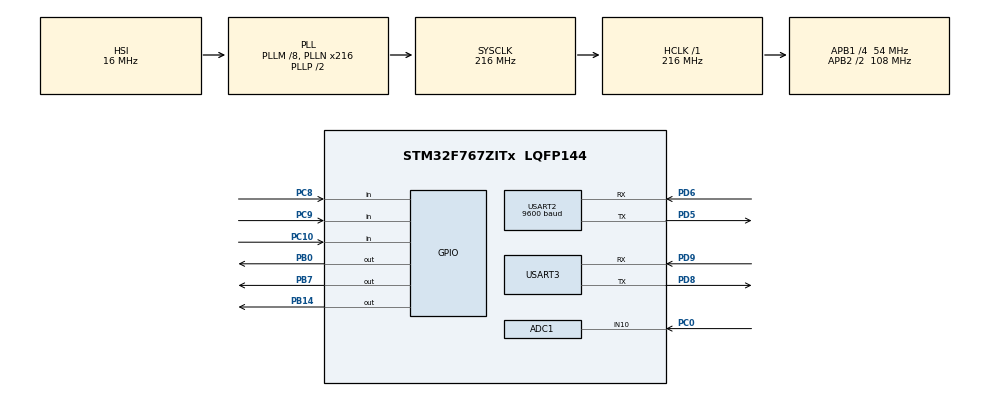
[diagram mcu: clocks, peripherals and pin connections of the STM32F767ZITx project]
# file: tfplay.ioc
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ADC1.Channel-0\#ChannelRegularConversion=ADC_CHANNEL_10
ADC1.ContinuousConvMode=ENABLE
ADC1.EOCSelection=ADC_EOC_SEQ_CONV
ADC1.NbrOfConversionFlag=1
ADC1.Rank-0\#ChannelRegularConversion=1
ADC1.SamplingTime-0\#ChannelRegularConversion=ADC_SAMPLETIME_3CYCLES
ADC1.master=1
CORTEX_M7.default_mode_Activation=1
Mcu.Family=STM32F7
Mcu.Name=STM32F767ZITx
Mcu.Package=LQFP144
NVIC.ADC_IRQn=true\:3\:0\:true\:false\:true\:true\:true\:true
NVIC.PriorityGroup=NVIC_PRIORITYGROUP_2
NVIC.TIM1_UP_TIM10_IRQn=true\:3\:0\:true\:false\:true\:true\:true\:true
PB0.Signal=GPIO_Output
PB14.Signal=GPIO_Output
PB7.Signal=GPIO_Output
PC0.Signal=ADCx_IN10
PC10.GPIO_PuPd=GPIO_PULLUP
PC10.Signal=GPIO_Input
PC8.GPIO_PuPd=GPIO_PULLUP
PC8.Signal=GPIO_Input
PC9.GPIO_PuPd=GPIO_PULLUP
PC9.Signal=GPIO_Input
PD5.Mode=Asynchronous
PD5.Signal=USART2_TX
PD6.Mode=Asynchronous
PD6.Signal=USART2_RX
PD8.Mode=Asynchronous
PD8.Signal=USART3_TX
PD9.Mode=Asynchronous
PD9.Signal=USART3_RX
ProjectManager.HeapSize=0x200
ProjectManager.StackSize=0x400
ProjectManager.TargetToolchain=STM32CubeIDE
RCC.AHBFreq_Value=216000000
RCC.APB1CLKDivider=RCC_HCLK_DIV4
RCC.APB1Freq_Value=54000000
RCC.APB1TimFreq_Value=108000000
RCC.APB2CLKDivider=RCC_HCLK_DIV2
RCC.APB2Freq_Value=108000000
RCC.APB2TimFreq_Value=216000000
RCC.CortexFreq_Value=216000000
RCC.HCLKFreq_Value=216000000
RCC.HSE_VALUE=25000000
RCC.HSI_VALUE=16000000
RCC.LSE_VALUE=32768
RCC.PLLM=8
RCC.PLLN=216
RCC.SYSCLKFreq_VALUE=216000000
RCC.SYSCLKSource=RCC_SYSCLKSOURCE_PLLCLK
RCC.USBFreq_Value=216000000
RCC.VCOOutputFreq_Value=432000000
SH.ADCx_IN10.0=ADC1_IN10,IN10
TIM10.Period=99
TIM10.Prescaler=41999
USART2.BaudRate=9600
USART2.VirtualMode-Asynchronous=VM_ASYNC
USART3.VirtualMode-Asynchronous=VM_ASYNC
USART3.WordLength=WORDLENGTH_8B
VP_TIM10_VS_ClockSourceINT.Mode=Enable_Timer
board=custom

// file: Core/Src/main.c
/* USER CODE BEGIN Header */
/**
  ******************************************************************************
  * @file           : main.c
  * @brief          : Main program body
  ******************************************************************************
  * @attention
  *
  * Copyright (c) 2025 STMicroelectronics.
  * All rights reserved.
  *
  * This software is licensed under terms that can be found in the LICENSE file
  * in the root directory of this software component.
  * If no LICENSE file comes with this software, it is provided AS-IS.
  *
  ******************************************************************************
  */
/* USER CODE END Header */
#include "main.h"

/* USER CODE BEGIN Includes */
#include "TFPlayer.h"

/* USER CODE END Includes */

/* USER CODE BEGIN PD */

uint32_t adc_val = 0;
uint8_t volume = 0;
char rx_buffer;
/* USER CODE END PD */

ADC_HandleTypeDef hadc1;

TIM_HandleTypeDef htim10;

UART_HandleTypeDef huart2;
UART_HandleTypeDef huart3;

void SystemClock_Config(void);
static void MPU_Config(void);
static void MX_GPIO_Init(void);
static void MX_ADC1_Init(void);
static void MX_TIM10_Init(void);
static void MX_USART2_UART_Init(void);
static void MX_USART3_UART_Init(void);
/* USER CODE BEGIN PFP */
void HAL_TIM_PeriodElaspedCallback(TIM_HandleTypeDef *htim) {
	TF_Set_Volume(volume);
	HAL_ADC_Start_IT(&hadc1);
}

void HAL_ADC_ConvCpltCallback(ADC_HandleTypeDef *hadc){
	adc_val = HAL_ADC_GetValue(hadc);
	volume = adc_val * (30.0 / 4095);
}
/* USER CODE END PFP */

int main(void)
{

  /* USER CODE BEGIN 1 */

	uint8_t isPaused =0;

  /* USER CODE END 1 */

  /* MPU Configuration--------------------------------------------------------*/
  MPU_Config();

  /* MCU Configuration--------------------------------------------------------*/

  /* Reset of all peripherals, Initializes the Flash interface and the Systick. */
  HAL_Init();

  /* Configure the system clock */
  SystemClock_Config();

  /* Initialize all configured peripherals */
  MX_GPIO_Init();
  MX_ADC1_Init();
  MX_TIM10_Init();
  MX_USART2_UART_Init();
  MX_USART3_UART_Init();
  /* USER CODE BEGIN 2 */
  HAL_ADC_Start_IT(&hadc1);
//  HAL_TIM_Base_Start_IT(&htim10);
  TF_Init();
  TF_Play(1);
  HAL_UART_Transmit(&huart3, (uint8_t*)"test\r\n", 6, 100);

  /* USER CODE END 2 */

  /* Infinite loop */
  while (1)
  {

    /* USER CODE BEGIN 3 */

	  HAL_UART_Transmit(&huart3, (uint8_t*)"test\r\n", 6, 100);
	  if (HAL_UART_Receive(&huart3, (uint8_t*)&rx_buffer, sizeof(rx_buffer), HAL_MAX_DELAY) == HAL_OK)
		  {
			  HAL_UART_Transmit(&huart3, (uint8_t*)&rx_buffer, sizeof(rx_buffer), HAL_MAX_DELAY);
			  if (rx_buffer == '1') {
				  HAL_GPIO_WritePin(GPIOB, GPIO_PIN_0, 1);
				  TF_Next();
			  } else if (rx_buffer == '2') {
				  HAL_GPIO_WritePin(GPIOB, GPIO_PIN_7, 1);
				  TF_Previous();
			  } else if (rx_buffer == '3') {
				  if (isPaused)
				  {
					  TF_Resume();
					  isPaused = 0;
				  } else {
					  TF_Pause();
					  isPaused = 1;
				  }
			  } else {
				  HAL_GPIO_WritePin(GPIOB, GPIO_PIN_7, 0);
				  HAL_GPIO_WritePin(GPIOB, GPIO_PIN_0, 0);
			  }
		  }

  }
  /* USER CODE END 3 */
}

void SystemClock_Config(void)
{
  RCC_OscInitTypeDef RCC_OscInitStruct = {0};
  RCC_ClkInitTypeDef RCC_ClkInitStruct = {0};

  /** Configure the main internal regulator output voltage
  */
  __HAL_RCC_PWR_CLK_ENABLE();
  __HAL_PWR_VOLTAGESCALING_CONFIG(PWR_REGULATOR_VOLTAGE_SCALE1);

  /** Initializes the RCC Oscillators according to the specified parameters
  * in the RCC_OscInitTypeDef structure.
  */
  RCC_OscInitStruct.OscillatorType = RCC_OSCILLATORTYPE_HSI;
  RCC_OscInitStruct.HSIState = RCC_HSI_ON;
  RCC_OscInitStruct.HSICalibrationValue = RCC_HSICALIBRATION_DEFAULT;
  RCC_OscInitStruct.PLL.PLLState = RCC_PLL_ON;
  RCC_OscInitStruct.PLL.PLLSource = RCC_PLLSOURCE_HSI;
  RCC_OscInitStruct.PLL.PLLM = 8;
  RCC_OscInitStruct.PLL.PLLN = 216;
  RCC_OscInitStruct.PLL.PLLP = RCC_PLLP_DIV2;
  RCC_OscInitStruct.PLL.PLLQ = 2;
  RCC_OscInitStruct.PLL.PLLR = 2;
  if (HAL_RCC_OscConfig(&RCC_OscInitStruct) != HAL_OK)
  {
    Error_Handler();
  }

  /** Activate the Over-Drive mode
  */
  if (HAL_PWREx_EnableOverDrive() != HAL_OK)
  {
    Error_Handler();
  }

  /** Initializes the CPU, AHB and APB buses clocks
  */
  RCC_ClkInitStruct.ClockType = RCC_CLOCKTYPE_HCLK|RCC_CLOCKTYPE_SYSCLK
                              |RCC_CLOCKTYPE_PCLK1|RCC_CLOCKTYPE_PCLK2;
  RCC_ClkInitStruct.SYSCLKSource = RCC_SYSCLKSOURCE_PLLCLK;
  RCC_ClkInitStruct.AHBCLKDivider = RCC_SYSCLK_DIV1;
  RCC_ClkInitStruct.APB1CLKDivider = RCC_HCLK_DIV4;
  RCC_ClkInitStruct.APB2CLKDivider = RCC_HCLK_DIV2;

  if (HAL_RCC_ClockConfig(&RCC_ClkInitStruct, FLASH_LATENCY_7) != HAL_OK)
  {
    Error_Handler();
  }
}

static void MX_ADC1_Init(void)
{

  ADC_ChannelConfTypeDef sConfig = {0};

  /** Configure the global features of the ADC (Clock, Resolution, Data Alignment and number of conversion)
  */
  hadc1.Instance = ADC1;
  hadc1.Init.ClockPrescaler = ADC_CLOCK_SYNC_PCLK_DIV4;
  hadc1.Init.Resolution = ADC_RESOLUTION_12B;
  hadc1.Init.ScanConvMode = ADC_SCAN_DISABLE;
  hadc1.Init.ContinuousConvMode = ENABLE;
  hadc1.Init.DiscontinuousConvMode = DISABLE;
  hadc1.Init.ExternalTrigConvEdge = ADC_EXTERNALTRIGCONVEDGE_NONE;
  hadc1.Init.ExternalTrigConv = ADC_SOFTWARE_START;
  hadc1.Init.DataAlign = ADC_DATAALIGN_RIGHT;
  hadc1.Init.NbrOfConversion = 1;
  hadc1.Init.DMAContinuousRequests = DISABLE;
  hadc1.Init.EOCSelection = ADC_EOC_SEQ_CONV;
  if (HAL_ADC_Init(&hadc1) != HAL_OK)
  {
    Error_Handler();
  }

  /** Configure for the selected ADC regular channel its corresponding rank in the sequencer and its sample time.
  */
  sConfig.Channel = ADC_CHANNEL_10;
  sConfig.Rank = ADC_REGULAR_RANK_1;
  sConfig.SamplingTime = ADC_SAMPLETIME_3CYCLES;
  if (HAL_ADC_ConfigChannel(&hadc1, &sConfig) != HAL_OK)
  {
    Error_Handler();
  }

}

static void MX_TIM10_Init(void)
{

  htim10.Instance = TIM10;
  htim10.Init.Prescaler = 41999;
  htim10.Init.CounterMode = TIM_COUNTERMODE_UP;
  htim10.Init.Period = 99;
  htim10.Init.ClockDivision = TIM_CLOCKDIVISION_DIV1;
  htim10.Init.AutoReloadPreload = TIM_AUTORELOAD_PRELOAD_DISABLE;
  if (HAL_TIM_Base_Init(&htim10) != HAL_OK)
  {
    Error_Handler();
  }

}

static void MX_USART2_UART_Init(void)
{

  huart2.Instance = USART2;
  huart2.Init.BaudRate = 9600;
  huart2.Init.WordLength = UART_WORDLENGTH_8B;
  huart2.Init.StopBits = UART_STOPBITS_1;
  huart2.Init.Parity = UART_PARITY_NONE;
  huart2.Init.Mode = UART_MODE_TX_RX;
  huart2.Init.HwFlowCtl = UART_HWCONTROL_NONE;
  huart2.Init.OverSampling = UART_OVERSAMPLING_16;
  huart2.Init.OneBitSampling = UART_ONE_BIT_SAMPLE_DISABLE;
  huart2.AdvancedInit.AdvFeatureInit = UART_ADVFEATURE_NO_INIT;
  if (HAL_UART_Init(&huart2) != HAL_OK)
  {
    Error_Handler();
  }

}

static void MX_USART3_UART_Init(void)
{

  huart3.Instance = USART3;
  huart3.Init.BaudRate = 115200;
  huart3.Init.WordLength = UART_WORDLENGTH_8B;
  huart3.Init.StopBits = UART_STOPBITS_1;
  huart3.Init.Parity = UART_PARITY_NONE;
  huart3.Init.Mode = UART_MODE_TX_RX;
  huart3.Init.HwFlowCtl = UART_HWCONTROL_NONE;
  huart3.Init.OverSampling = UART_OVERSAMPLING_16;
  huart3.Init.OneBitSampling = UART_ONE_BIT_SAMPLE_DISABLE;
  huart3.AdvancedInit.AdvFeatureInit = UART_ADVFEATURE_NO_INIT;
  if (HAL_UART_Init(&huart3) != HAL_OK)
  {
    Error_Handler();
  }

}

static void MX_GPIO_Init(void)
{
  GPIO_InitTypeDef GPIO_InitStruct = {0};

  /* GPIO Ports Clock Enable */
  __HAL_RCC_GPIOC_CLK_ENABLE();
  __HAL_RCC_GPIOB_CLK_ENABLE();
  __HAL_RCC_GPIOD_CLK_ENABLE();

  /*Configure GPIO pin Output Level */
  HAL_GPIO_WritePin(GPIOB, GPIO_PIN_0|GPIO_PIN_14|GPIO_PIN_7, GPIO_PIN_RESET);

  /*Configure GPIO pins : PB0 PB14 PB7 */
  GPIO_InitStruct.Pin = GPIO_PIN_0|GPIO_PIN_14|GPIO_PIN_7;
  GPIO_InitStruct.Mode = GPIO_MODE_OUTPUT_PP;
  GPIO_InitStruct.Pull = GPIO_NOPULL;
  GPIO_InitStruct.Speed = GPIO_SPEED_FREQ_LOW;
  HAL_GPIO_Init(GPIOB, &GPIO_InitStruct);

  /*Configure GPIO pins : PC8 PC9 PC10 */
  GPIO_InitStruct.Pin = GPIO_PIN_8|GPIO_PIN_9|GPIO_PIN_10;
  GPIO_InitStruct.Mode = GPIO_MODE_INPUT;
  GPIO_InitStruct.Pull = GPIO_PULLUP;
  HAL_GPIO_Init(GPIOC, &GPIO_InitStruct);

}

 /* MPU Configuration */

void MPU_Config(void)
{
  MPU_Region_InitTypeDef MPU_InitStruct = {0};

  /* Disables the MPU */
  HAL_MPU_Disable();

  /** Initializes and configures the Region and the memory to be protected
  */
  MPU_InitStruct.Enable = MPU_REGION_ENABLE;
  MPU_InitStruct.Number = MPU_REGION_NUMBER0;
  MPU_InitStruct.BaseAddress = 0x0;
  MPU_InitStruct.Size = MPU_REGION_SIZE_4GB;
  MPU_InitStruct.SubRegionDisable = 0x87;
  MPU_InitStruct.TypeExtField = MPU_TEX_LEVEL0;
  MPU_InitStruct.AccessPermission = MPU_REGION_NO_ACCESS;
  MPU_InitStruct.DisableExec = MPU_INSTRUCTION_ACCESS_DISABLE;
  MPU_InitStruct.IsShareable = MPU_ACCESS_SHAREABLE;
  MPU_InitStruct.IsCacheable = MPU_ACCESS_NOT_CACHEABLE;
  MPU_InitStruct.IsBufferable = MPU_ACCESS_NOT_BUFFERABLE;

  HAL_MPU_ConfigRegion(&MPU_InitStruct);
  /* Enables the MPU */
  HAL_MPU_Enable(MPU_PRIVILEGED_DEFAULT);

}

void Error_Handler(void)
{
  __disable_irq();
  while (1)
  {
  }
}
